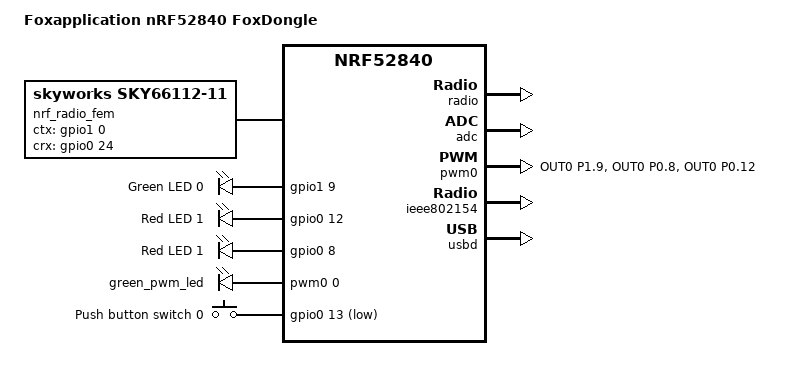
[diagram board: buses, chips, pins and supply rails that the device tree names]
// Copyright (c) 2024 Nordic Semiconductor ASA
// SPDX-License-Identifier: Apache-2.0

/dts-v1/;
#include <nordic/nrf52840_qiaa.dtsi>
#include <zephyr/dt-bindings/input/input-event-codes.h>

&pinctrl {
	pwm0_default: pwm0_default {
		group1 {
			psels = <NRF_PSEL(PWM_OUT0, 1, 9)>,<NRF_PSEL(PWM_OUT0, 0, 8)>,<NRF_PSEL(PWM_OUT0, 0, 12)>;
			nordic,drive-mode = <NRF_DRIVE_D0S1>;
		};
	};

	pwm0_sleep: pwm0_sleep {
		group1 {
			psels = <NRF_PSEL(PWM_OUT0, 1, 9)>,<NRF_PSEL(PWM_OUT0, 0, 8)>,<NRF_PSEL(PWM_OUT0, 0, 12)>;
			low-power-enable;
		};
	};
};

/ {
	model = "Foxapplication nRF52840 FoxDongle";
	compatible = "foxdongle_uf2";

	chosen {
		zephyr,console = &cdc_acm_uart;
		zephyr,shell-uart = &cdc_acm_uart;
		zephyr,uart-mcumgr = &cdc_acm_uart;
		zephyr,bt-mon-uart = &cdc_acm_uart;
		zephyr,bt-c2h-uart = &cdc_acm_uart;
		zephyr,sram = &sram0;
		zephyr,flash = &flash0;
		zephyr,ieee802154 = &ieee802154;
	};

	nrf_radio_fem: skyFem {
		compatible = "skyworks,sky66112-11", "generic-fem-two-ctrl-pins";
		ctx-gpios = <&gpio1 0 GPIO_ACTIVE_HIGH>;
		ctx-settle-time-us = <23>;
		crx-gpios = <&gpio0 24 GPIO_ACTIVE_HIGH>;
		crx-settle-time-us = <8>;
		tx-gain-db = <22>;
		rx-gain-db = <12>;
	};

	leds {
		compatible = "gpio-leds";
		led0_green: led_0 {
			gpios = <&gpio1 9 GPIO_ACTIVE_HIGH>;
			label = "Green LED 0";
		};
		led1_red: led_1 {
			gpios = <&gpio0 12 GPIO_ACTIVE_HIGH>;
			label = "Red LED 1";
		};
		led2_blue: led_2 {
			gpios = <&gpio0 8 GPIO_ACTIVE_HIGH>;
			label = "Red LED 1";
		};
	};


	pwmleds {
		compatible = "pwm-leds";
		green_pwm_led: pwm_led_0 {
			pwms = <&pwm0 0 PWM_MSEC(1) PWM_POLARITY_INVERTED>;
		};
	};

	buttons {
		compatible = "gpio-keys";
		button0: button_0 {
			gpios = <&gpio0 13 (GPIO_PULL_UP | GPIO_ACTIVE_LOW)>;
			label = "Push button switch 0";
			zephyr,code = <INPUT_KEY_0>;
		};
	};

	aliases {
		sw0 = &button0;
		led0 = &led0_green;
		led1 = &led1_red;
		led2 = &led2_blue;
		led0-green = &led0_green;
		led1-red   = &led1_red;
		led2-blue   = &led2_blue;
		pwm-led0 = &green_pwm_led;
		green-pwm-led = &green_pwm_led;
		watchdog0 = &wdt0;
	};
};

&reg0 {
	status = "disabled";
};

&reg1 {
	regulator-initial-mode = <NRF5X_REG_MODE_LDO>;
};

&radio {
	fem = <&nrf_radio_fem>;
};

&adc {
	status = "okay";
};

&gpio0 {
	status = "okay";
};

&gpio1 {
	status = "okay";
};

&gpiote {
	status = "okay";
};

&uicr {
	nfct-pins-as-gpios;
	gpio-as-nreset;
};

&pwm0 {
	status = "okay";
	pinctrl-0 = <&pwm0_default>;
	pinctrl-1 = <&pwm0_sleep>;
	pinctrl-names = "default", "sleep";
};

&ieee802154 {
	status = "okay";
};

zephyr_udc0: &usbd {
	compatible = "nordic,nrf-usbd";
	status = "okay";
	cdc_acm_uart: cdc_acm_uart {
		compatible = "zephyr,cdc-acm-uart";
	};
};

&cryptocell {
	status = "disabled";
};

&nfct {
	status = "disabled";
};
